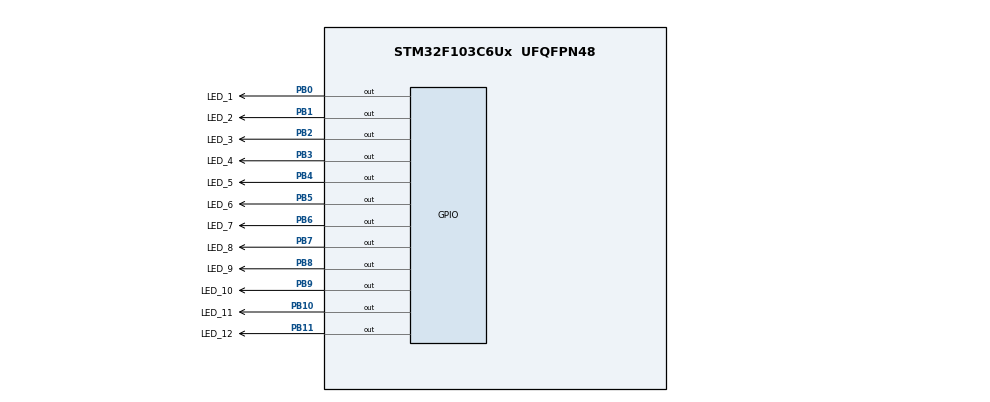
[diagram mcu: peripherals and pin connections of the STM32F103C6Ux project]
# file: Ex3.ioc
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Mcu.Family=STM32F1
Mcu.Name=STM32F103C6Ux
Mcu.Package=UFQFPN48
NVIC.PriorityGroup=NVIC_PRIORITYGROUP_4
PB0.GPIO_Label=LED_1
PB0.Signal=GPIO_Output
PB1.GPIO_Label=LED_2
PB1.Signal=GPIO_Output
PB10.GPIO_Label=LED_11
PB10.Signal=GPIO_Output
PB11.GPIO_Label=LED_12
PB11.Signal=GPIO_Output
PB2.GPIO_Label=LED_3
PB2.Signal=GPIO_Output
PB3.GPIO_Label=LED_4
PB3.Signal=GPIO_Output
PB4.GPIO_Label=LED_5
PB4.Signal=GPIO_Output
PB5.GPIO_Label=LED_6
PB5.Signal=GPIO_Output
PB6.GPIO_Label=LED_7
PB6.Signal=GPIO_Output
PB7.GPIO_Label=LED_8
PB7.Signal=GPIO_Output
PB8.GPIO_Label=LED_9
PB8.Signal=GPIO_Output
PB9.GPIO_Label=LED_10
PB9.Signal=GPIO_Output
ProjectManager.HeapSize=0x200
ProjectManager.StackSize=0x400
ProjectManager.TargetToolchain=STM32CubeIDE
RCC.APB1Freq_Value=8000000
RCC.APB2Freq_Value=8000000
VP_SYS_VS_ND.Mode=No_Debug
board=custom

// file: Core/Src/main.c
/* USER CODE BEGIN Header */
/**
  ******************************************************************************
  * @file           : main.c
  * @brief          : Main program body
  ******************************************************************************
  * @attention
  *
  * <h2><center>&copy; Copyright (c) 2024 STMicroelectronics.
  * All rights reserved.</center></h2>
  *
  * This software component is licensed by ST under BSD 3-Clause license,
  * the "License"; You may not use this file except in compliance with the
  * License. You may obtain a copy of the License at:
  *                        opensource.org/licenses/BSD-3-Clause
  *
  ******************************************************************************
  */
/* USER CODE END Header */
#include "main.h"

void SystemClock_Config(void);
static void MX_GPIO_Init(void);

int main(void)
{

  /* MCU Configuration--------------------------------------------------------*/

  /* Reset of all peripherals, Initializes the Flash interface and the Systick. */
  HAL_Init();

  /* Configure the system clock */
  SystemClock_Config();

  /* Initialize all configured peripherals */
  MX_GPIO_Init();
  /* USER CODE BEGIN 2 */
  HAL_GPIO_WritePin(LED_1_GPIO_Port, LED_1_Pin, GPIO_PIN_RESET);
  HAL_GPIO_WritePin(LED_2_GPIO_Port, LED_2_Pin, GPIO_PIN_RESET);
  HAL_GPIO_WritePin(LED_3_GPIO_Port, LED_3_Pin, GPIO_PIN_RESET);
  HAL_GPIO_WritePin(LED_4_GPIO_Port, LED_4_Pin, GPIO_PIN_RESET);
  HAL_GPIO_WritePin(LED_5_GPIO_Port, LED_5_Pin, GPIO_PIN_RESET);
  HAL_GPIO_WritePin(LED_6_GPIO_Port, LED_6_Pin, GPIO_PIN_RESET);
  HAL_GPIO_WritePin(LED_7_GPIO_Port, LED_7_Pin, GPIO_PIN_RESET);
  HAL_GPIO_WritePin(LED_8_GPIO_Port, LED_8_Pin, GPIO_PIN_RESET);
  HAL_GPIO_WritePin(LED_9_GPIO_Port, LED_9_Pin, GPIO_PIN_RESET);
  HAL_GPIO_WritePin(LED_10_GPIO_Port, LED_10_Pin, GPIO_PIN_RESET);
  HAL_GPIO_WritePin(LED_11_GPIO_Port, LED_11_Pin, GPIO_PIN_RESET);
  HAL_GPIO_WritePin(LED_12_GPIO_Port, LED_12_Pin, GPIO_PIN_RESET);

  /* USER CODE END 2 */

  /* Infinite loop */
  /* USER CODE BEGIN WHILE */
  int counter1 = 0;
  int counter2 = 0;
  while (1)
  {
	  counter1++;
	  counter2++;
	  if (counter1 <= 5)
	  {
		  HAL_GPIO_WritePin(LED_2_GPIO_Port, LED_2_Pin, GPIO_PIN_RESET);
		  HAL_GPIO_WritePin(LED_8_GPIO_Port, LED_8_Pin, GPIO_PIN_RESET);
		  HAL_GPIO_WritePin(LED_1_GPIO_Port, LED_1_Pin, GPIO_PIN_SET);
		  HAL_GPIO_WritePin(LED_7_GPIO_Port, LED_7_Pin, GPIO_PIN_SET);
	  }
	  else if (counter1 > 5 && counter1 <= 8)
	  {
		  HAL_GPIO_WritePin(LED_1_GPIO_Port, LED_1_Pin, GPIO_PIN_RESET);
		  HAL_GPIO_WritePin(LED_7_GPIO_Port, LED_7_Pin, GPIO_PIN_RESET);
		  HAL_GPIO_WritePin(LED_3_GPIO_Port, LED_3_Pin, GPIO_PIN_SET);
		  HAL_GPIO_WritePin(LED_9_GPIO_Port, LED_9_Pin, GPIO_PIN_SET);
	  }
	  else if (counter1 > 8 && counter1 <= 10)
	  {
		  HAL_GPIO_WritePin(LED_3_GPIO_Port, LED_3_Pin, GPIO_PIN_RESET);
		  HAL_GPIO_WritePin(LED_9_GPIO_Port, LED_9_Pin, GPIO_PIN_RESET);
		  HAL_GPIO_WritePin(LED_2_GPIO_Port, LED_2_Pin, GPIO_PIN_SET);
		  HAL_GPIO_WritePin(LED_8_GPIO_Port, LED_8_Pin, GPIO_PIN_SET);
	  }
	  if (counter2 <= 3)
	  {
		  HAL_GPIO_WritePin(LED_4_GPIO_Port, LED_4_Pin, GPIO_PIN_RESET);
		  HAL_GPIO_WritePin(LED_10_GPIO_Port, LED_10_Pin, GPIO_PIN_RESET);
		  HAL_GPIO_WritePin(LED_6_GPIO_Port, LED_6_Pin, GPIO_PIN_SET);
		  HAL_GPIO_WritePin(LED_12_GPIO_Port, LED_12_Pin, GPIO_PIN_SET);
	  }
	  else if (counter2 > 3 && counter2 <= 5)
	  {
		  HAL_GPIO_WritePin(LED_5_GPIO_Port, LED_5_Pin, GPIO_PIN_SET);
		  HAL_GPIO_WritePin(LED_11_GPIO_Port, LED_11_Pin, GPIO_PIN_SET);
		  HAL_GPIO_WritePin(LED_6_GPIO_Port, LED_6_Pin, GPIO_PIN_RESET);
		  HAL_GPIO_WritePin(LED_12_GPIO_Port, LED_12_Pin, GPIO_PIN_RESET);
	  }
	  else if (counter2 > 5 && counter2 <= 10)
	  {
		  HAL_GPIO_WritePin(LED_4_GPIO_Port, LED_4_Pin, GPIO_PIN_SET);
		  HAL_GPIO_WritePin(LED_10_GPIO_Port, LED_10_Pin, GPIO_PIN_SET);
		  HAL_GPIO_WritePin(LED_5_GPIO_Port, LED_5_Pin, GPIO_PIN_RESET);
		  HAL_GPIO_WritePin(LED_11_GPIO_Port, LED_11_Pin, GPIO_PIN_RESET);
	  }
	  if (counter1 >= 10)
	  {
		  counter1 = 0;
	  }
	  if (counter2 >= 10)
	  {
		  counter2 = 0;
	  }
	  HAL_Delay(1000);
  }
    /* USER CODE END WHILE */

}

void SystemClock_Config(void)
{
  RCC_OscInitTypeDef RCC_OscInitStruct = {0};
  RCC_ClkInitTypeDef RCC_ClkInitStruct = {0};

  /** Initializes the RCC Oscillators according to the specified parameters
  * in the RCC_OscInitTypeDef structure.
  */
  RCC_OscInitStruct.OscillatorType = RCC_OSCILLATORTYPE_HSI;
  RCC_OscInitStruct.HSIState = RCC_HSI_ON;
  RCC_OscInitStruct.HSICalibrationValue = RCC_HSICALIBRATION_DEFAULT;
  RCC_OscInitStruct.PLL.PLLState = RCC_PLL_NONE;
  if (HAL_RCC_OscConfig(&RCC_OscInitStruct) != HAL_OK)
  {
    Error_Handler();
  }
  /** Initializes the CPU, AHB and APB buses clocks
  */
  RCC_ClkInitStruct.ClockType = RCC_CLOCKTYPE_HCLK|RCC_CLOCKTYPE_SYSCLK
                              |RCC_CLOCKTYPE_PCLK1|RCC_CLOCKTYPE_PCLK2;
  RCC_ClkInitStruct.SYSCLKSource = RCC_SYSCLKSOURCE_HSI;
  RCC_ClkInitStruct.AHBCLKDivider = RCC_SYSCLK_DIV1;
  RCC_ClkInitStruct.APB1CLKDivider = RCC_HCLK_DIV1;
  RCC_ClkInitStruct.APB2CLKDivider = RCC_HCLK_DIV1;

  if (HAL_RCC_ClockConfig(&RCC_ClkInitStruct, FLASH_LATENCY_0) != HAL_OK)
  {
    Error_Handler();
  }
}

static void MX_GPIO_Init(void)
{
  GPIO_InitTypeDef GPIO_InitStruct = {0};

  /* GPIO Ports Clock Enable */
  __HAL_RCC_GPIOB_CLK_ENABLE();

  /*Configure GPIO pin Output Level */
  HAL_GPIO_WritePin(GPIOB, LED_1_Pin|LED_2_Pin|LED_3_Pin|LED_11_Pin
                          |LED_12_Pin|LED_4_Pin|LED_5_Pin|LED_6_Pin
                          |LED_7_Pin|LED_8_Pin|LED_9_Pin|LED_10_Pin, GPIO_PIN_RESET);

  /*Configure GPIO pins : LED_1_Pin LED_2_Pin LED_3_Pin LED_11_Pin
                           LED_12_Pin LED_4_Pin LED_5_Pin LED_6_Pin
                           LED_7_Pin LED_8_Pin LED_9_Pin LED_10_Pin */
  GPIO_InitStruct.Pin = LED_1_Pin|LED_2_Pin|LED_3_Pin|LED_11_Pin
                          |LED_12_Pin|LED_4_Pin|LED_5_Pin|LED_6_Pin
                          |LED_7_Pin|LED_8_Pin|LED_9_Pin|LED_10_Pin;
  GPIO_InitStruct.Mode = GPIO_MODE_OUTPUT_PP;
  GPIO_InitStruct.Pull = GPIO_NOPULL;
  GPIO_InitStruct.Speed = GPIO_SPEED_FREQ_LOW;
  HAL_GPIO_Init(GPIOB, &GPIO_InitStruct);

}

void Error_Handler(void)
{
  __disable_irq();
  while (1)
  {
  }
}

/************************ (C) COPYRIGHT STMicroelectronics *****END OF FILE****/
